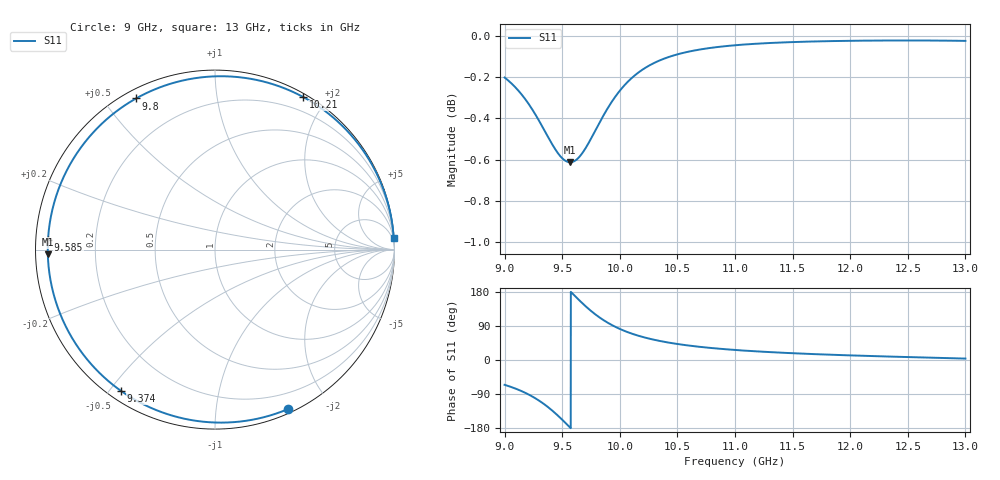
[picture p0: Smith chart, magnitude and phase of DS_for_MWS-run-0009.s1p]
! TOUCHSTONE file generated by CST DESIGN STUDIO
! Date and time: Tue Feb  4 15:49:56 2025
! Project name: C:\Work\MatlabApps\UnitCellOptimizationMatlab\CST\unitcell.cst
! Tree item: Tasks\Sweep1\SPara1\S-Parameters
! Header version: 2024
! Port assignment regex: !\s*Touchstone port\s*([0-9]+)\s*=\s*(CST MWS port|CST DES external port|CST DES block port)\s*(.+)\s* \(\"(.*)\"\)(\s*mode\s*([0-9]+))?.*
! Touchstone port assignment:
! Touchstone port 1 = CST DES external port 1 ("")
# GHz S MA R 50
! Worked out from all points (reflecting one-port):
!   4001 points, 9 GHz to 13 GHz, reference 50 ohm
!   lowest |S11| = -0.6 dB at 9.569 GHz (marker M1), VSWR 28.36, Z = 1.76 - j0.689 ohm
!   phase of S11 starts at -66 deg and turns -291 deg over the sweep
!   S11 on the Smith chart (normalised r, x): 9 GHz: 0.04, -1.55; 9.374 GHz: 0.04, -0.54; 9.585 GHz: 0.04, +0.03; 9.8 GHz: 0.04, +0.61; 10.21 GHz: 0.04, +1.73; 13 GHz: 1, +30
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9  0.9771 -65.5
9.044  0.9748 -69.9
9.111  0.9706 -77.4
9.226  0.9612 -93.9
9.304  0.9532 -108.2
9.374  0.9455 -123.6
9.436  0.939 -139.4
9.5  0.934 -157.6
9.535  0.9324 -168.0
9.569  0.9319 -178.4
9.585  0.932 176.7
9.64  0.9341 160.0
9.7  0.939 142.7
9.75  0.9443 129.5
9.8  0.95 117.6
9.843  0.9549 108.3
9.89  0.96 99.3
10  0.9699 82.0
10.1  0.9767 70.0
10.209  0.9819 59.9
10.343  0.9864 50.5
10.5  0.9899 42.2
10.721  0.9928 33.9
11  0.9949 26.5
11.5  0.9967 17.9
12  0.9974 12.2
12.5  0.9976 7.7
13  0.9974 3.8
